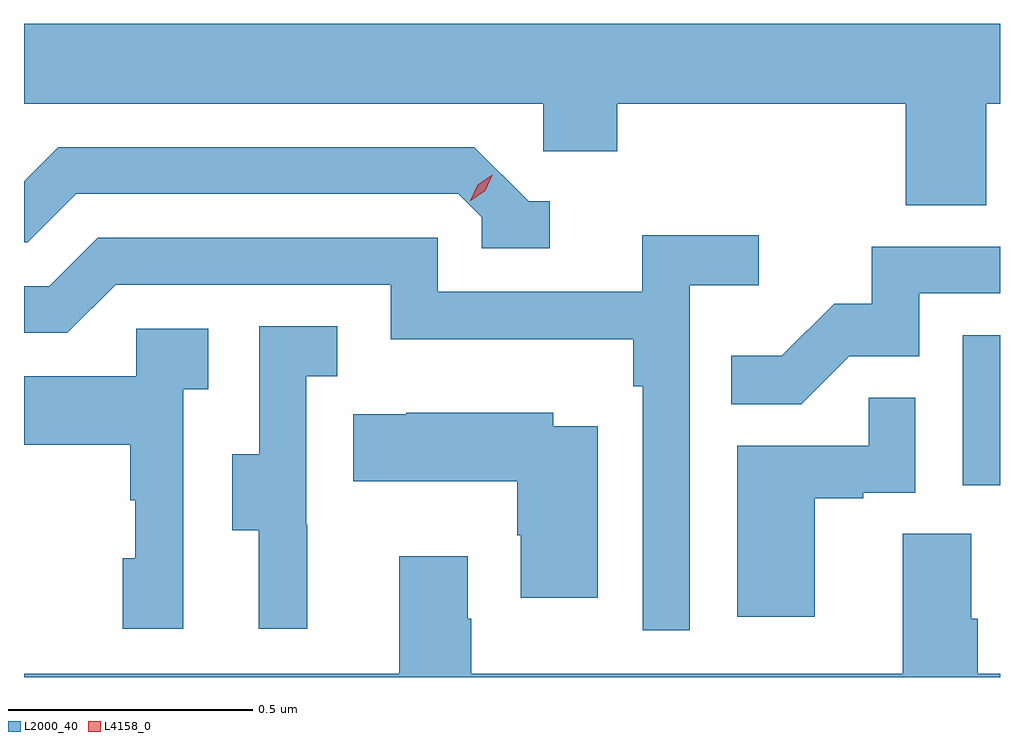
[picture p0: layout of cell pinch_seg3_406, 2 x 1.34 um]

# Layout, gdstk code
import gdstk
lib = gdstk.Library(unit=1e-6, precision=1e-09)
def R(c, l, rs):  # rectangles x0, y0, x1, y1
    for r in rs: c.add(gdstk.rectangle(r[:2], r[2:], *l))
def P(c, l, *ps):  # polygons
    for p in ps: c.add(gdstk.Polygon(p, *l))
L2000_40 = (2000, 40)
L4158_0 = (4158, 0)

pinch_seg3_406 = lib.new_cell('pinch_seg3_406')
R(pinch_seg3_406, L2000_40, [(927.044,697.47,927.12,697.777)])
P(pinch_seg3_406, L2000_40, [(927.092,698.252),(927.12,698.252),(927.12,698.416),(925.12,698.416),(925.12,698.252),(926.184,698.252),(926.184,698.154),(926.336,698.154),(926.336,698.252),(926.927,698.252),(926.927,698.044),(927.092,698.044)],
  [(926.197,698.052),(926.154,698.052),(926.043,698.163),(925.19,698.163),(925.12,698.093),(925.12,697.968),(925.128,697.968),(925.227,698.067),(926.01,698.067),(926.058,698.019),(926.058,697.956),(926.197,697.956)],
  [(926.484,697.88),(926.626,697.88),(926.626,697.982),(926.387,697.982),(926.387,697.866),(925.968,697.866),(925.968,697.977),(925.271,697.977),(925.172,697.878),(925.12,697.878),(925.12,697.782),(925.209,697.782),(925.308,697.881),(925.872,697.881),(925.872,697.769),(926.368,697.769),(926.368,697.673),(926.388,697.673),(926.388,697.173),(926.484,697.173)],
  [(926.811,697.734),(926.955,697.734),(926.955,697.863),(927.12,697.863),(927.12,697.959),(926.857,697.959),(926.857,697.842),(926.78,697.842),(926.673,697.735),(926.569,697.735),(926.569,697.636),(926.713,697.636)],
  [(925.7,697.389),(925.698,697.389),(925.698,697.693),(925.762,697.693),(925.762,697.796),(925.602,697.796),(925.602,697.533),(925.547,697.533),(925.547,697.378),(925.601,697.378),(925.601,697.176),(925.7,697.176)],
  [(925.446,697.667),(925.498,697.667),(925.498,697.791),(925.35,697.791),(925.35,697.693),(925.12,697.693),(925.12,697.553),(925.338,697.553),(925.338,697.439),(925.348,697.439),(925.348,697.32),(925.322,697.32),(925.322,697.176),(925.446,697.176)],
  [(926.74,697.443),(926.84,697.443),(926.84,697.455),(926.946,697.455),(926.946,697.649),(926.851,697.649),(926.851,697.551),(926.582,697.551),(926.582,697.2),(926.74,697.2)],
  [(926.296,697.591),(926.205,697.591),(926.205,697.618),(925.903,697.618),(925.903,697.615),(925.795,697.615),(925.795,697.478),(926.131,697.478),(926.131,697.367),(926.138,697.367),(926.138,697.239),(926.296,697.239)],
  [(927.12,697.084),(927.074,697.084),(927.074,697.196),(927.061,697.196),(927.061,697.37),(926.921,697.37),(926.921,697.084),(926.037,697.084),(926.037,697.196),(926.029,697.196),(926.029,697.324),(925.889,697.324),(925.889,697.084),(925.12,697.084),(925.12,697.076),(927.12,697.076)])
P(pinch_seg3_406, L4158_0, [(926.034,698.053),(926.034,698.053),(926.05,698.086),(926.08,698.106),(926.08,698.106),(926.08,698.105),(926.065,698.073),(926.035,698.053)])

lib.write_gds('pinch_seg3_406.gds')
